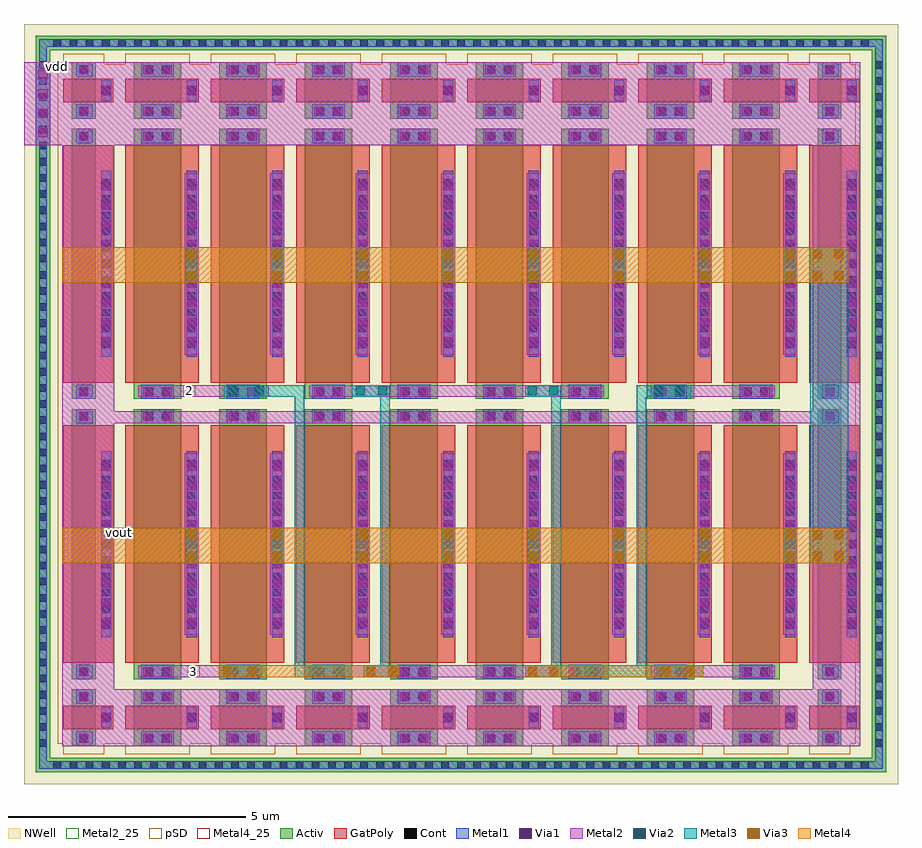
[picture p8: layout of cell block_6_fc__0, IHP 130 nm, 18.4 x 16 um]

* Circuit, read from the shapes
.subckt block_6_fc__0 2 3 vdd vout
XM1 vdd vdd vdd vdd sg13_lv_pmos w=0.5u l=0.5u m=4
XM2 vdd vdd vdd vdd sg13_lv_pmos w=0.5u l=5u m=4
XM3 vdd vdd vdd vdd sg13_lv_pmos w=1u l=0.5u m=16
XM4 vdd vout 3 vdd sg13_lv_pmos w=1u l=5u m=8
XM5 vdd vout 2 vdd sg13_lv_pmos w=1u l=5u m=8
.ends

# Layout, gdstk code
from math import pi, radians
import gdstk
lib = gdstk.Library(unit=1e-6, precision=1e-09)
def R(c, l, rs):  # rectangles x0, y0, x1, y1
    for r in rs: c.add(gdstk.rectangle(r[:2], r[2:], *l))
def A(c, l, x, y, w, h, nx, ny, dx, dy):  # array of equal rectangles
    R(c, l, [(x+i*dx, y+j*dy, x+i*dx+w, y+j*dy+h) for i in range(nx) for j in range(ny)])
Activ = (1, 0)
GatPoly = (5, 0)
Cont = (6, 0)
Metal1 = (8, 0)
Metal2 = (10, 0)
Metal2_25 = (10, 25)
pSD = (14, 0)
Via1 = (19, 0)
Via2 = (29, 0)
Metal3 = (30, 0)
NWell = (31, 0)
Via3 = (49, 0)
Metal4 = (50, 0)
Metal4_25 = (50, 25)

sg13_lv_pmos_7da2r2__0 = lib.new_cell('sg13_lv_pmos_7DA2R2__0')
R(sg13_lv_pmos_7da2r2__0, Activ, [(-0.59,-0.345,0.59,0.155)])
R(sg13_lv_pmos_7da2r2__0, GatPoly, [(-0.25,-0.525,0.25,0.525)])
R(sg13_lv_pmos_7da2r2__0, Cont, [(-0.52,-0.175,-0.36,-0.015), (0.36,-0.175,0.52,-0.015), (-0.08,0.295,0.08,0.455)])
R(sg13_lv_pmos_7da2r2__0, Metal1, [(-0.59,-0.24,-0.29,0.05), (0.29,-0.24,0.59,0.05), (-0.215,0.27,0.215,0.48)])
R(sg13_lv_pmos_7da2r2__0, Metal2, [(-0.54,-0.28,-0.34,0.09), (0.34,-0.28,0.54,0.09), (-0.11,0.23,0.11,0.52)])
R(sg13_lv_pmos_7da2r2__0, pSD, [(-0.55,-0.645,0.55,-0.525), (-0.77,-0.525,0.77,0.335), (-0.55,0.335,0.55,0.455)])
R(sg13_lv_pmos_7da2r2__0, Via1, [(-0.535,-0.19,-0.345,0), (0.345,-0.19,0.535,0), (-0.095,0.28,0.095,0.47)])
R(sg13_lv_pmos_7da2r2__0, NWell, [(-0.9,-0.655,0.9,0.465)])
sg13_lv_pmos_7da2r2__0.add(gdstk.Label('D', (-0.44,-0.095), layer=8, texttype=25))
sg13_lv_pmos_7da2r2__0.add(gdstk.Label('S', (0.44,-0.095), layer=8, texttype=25))
sg13_lv_pmos_7da2r2__0.add(gdstk.Label('G', (0,0.375), layer=8, texttype=25))

sg13_lv_pmos_9rwyp4__0 = lib.new_cell('sg13_lv_pmos_9RWYP4__0')
R(sg13_lv_pmos_9rwyp4__0, Activ, [(-2.84,-0.595,2.84,0.405)])
R(sg13_lv_pmos_9rwyp4__0, GatPoly, [(-2.5,-0.775,2.5,0.775)])
A(sg13_lv_pmos_9rwyp4__0, Cont, -1.78, 0.545, 0.16, 0.16, 11, 1, 0.34, 0)
R(sg13_lv_pmos_9rwyp4__0, Cont, [(-2.77,-0.345,-2.61,-0.185), (2.61,-0.345,2.77,-0.185), (-2.77,-0.005,-2.61,0.155), (2.61,-0.005,2.77,0.155)])
R(sg13_lv_pmos_9rwyp4__0, Metal1, [(-2.84,-0.44,-2.54,0.25), (2.54,-0.44,2.84,0.25), (-1.96,0.52,1.96,0.73)])
R(sg13_lv_pmos_9rwyp4__0, Metal2, [(-2.79,-0.48,-2.59,0.29), (2.59,-0.48,2.79,0.29), (-1.91,0.48,1.91,0.77)])
R(sg13_lv_pmos_9rwyp4__0, pSD, [(-2.8,-0.895,2.8,-0.775), (-3.02,-0.775,3.02,0.585), (-2.8,0.585,2.8,0.705)])
A(sg13_lv_pmos_9rwyp4__0, Via1, -1.735, 0.53, 0.19, 0.19, 9, 1, 0.41, 0)
R(sg13_lv_pmos_9rwyp4__0, Via1, [(-2.785,-0.395,-2.595,-0.205), (2.595,-0.395,2.785,-0.205), (-2.785,0.015,-2.595,0.205), (2.595,0.015,2.785,0.205)])
R(sg13_lv_pmos_9rwyp4__0, NWell, [(-3.15,-0.905,3.15,0.715)])
sg13_lv_pmos_9rwyp4__0.add(gdstk.Label('D', (-2.69,-0.095), layer=8, texttype=25))
sg13_lv_pmos_9rwyp4__0.add(gdstk.Label('S', (2.69,-0.095), layer=8, texttype=25))
sg13_lv_pmos_9rwyp4__0.add(gdstk.Label('G', (0,0.625), layer=8, texttype=25))

sg13_lv_pmos_77wrp2__0 = lib.new_cell('sg13_lv_pmos_77WRP2__0')
R(sg13_lv_pmos_77wrp2__0, Activ, [(-0.59,-0.595,0.59,0.405)])
R(sg13_lv_pmos_77wrp2__0, GatPoly, [(-0.25,-0.775,0.25,0.775)])
R(sg13_lv_pmos_77wrp2__0, Cont, [(-0.52,-0.345,-0.36,-0.185), (0.36,-0.345,0.52,-0.185), (-0.52,-0.005,-0.36,0.155), (0.36,-0.005,0.52,0.155), (-0.08,0.545,0.08,0.705)])
R(sg13_lv_pmos_77wrp2__0, Metal1, [(-0.59,-0.44,-0.29,0.25), (0.29,-0.44,0.59,0.25), (-0.215,0.52,0.215,0.73)])
R(sg13_lv_pmos_77wrp2__0, Metal2, [(-0.54,-0.48,-0.34,0.29), (0.34,-0.48,0.54,0.29), (-0.11,0.48,0.11,0.77)])
R(sg13_lv_pmos_77wrp2__0, pSD, [(-0.55,-0.895,0.55,-0.775), (-0.77,-0.775,0.77,0.585), (-0.55,0.585,0.55,0.705)])
R(sg13_lv_pmos_77wrp2__0, Via1, [(-0.535,-0.395,-0.345,-0.205), (0.345,-0.395,0.535,-0.205), (-0.535,0.015,-0.345,0.205), (0.345,0.015,0.535,0.205), (-0.095,0.53,0.095,0.72)])
R(sg13_lv_pmos_77wrp2__0, NWell, [(-0.9,-0.905,0.9,0.715)])
sg13_lv_pmos_77wrp2__0.add(gdstk.Label('D', (-0.44,-0.095), layer=8, texttype=25))
sg13_lv_pmos_77wrp2__0.add(gdstk.Label('S', (0.44,-0.095), layer=8, texttype=25))
sg13_lv_pmos_77wrp2__0.add(gdstk.Label('G', (0,0.625), layer=8, texttype=25))

sg13_lv_pmos_gk6upc__0 = lib.new_cell('sg13_lv_pmos_GK6UPC__0')
R(sg13_lv_pmos_gk6upc__0, Activ, [(-2.84,-0.345,2.84,0.155)])
R(sg13_lv_pmos_gk6upc__0, GatPoly, [(-2.5,-0.525,2.5,0.525)])
A(sg13_lv_pmos_gk6upc__0, Cont, -1.78, 0.295, 0.16, 0.16, 11, 1, 0.34, 0)
R(sg13_lv_pmos_gk6upc__0, Cont, [(-2.77,-0.175,-2.61,-0.015), (2.61,-0.175,2.77,-0.015)])
R(sg13_lv_pmos_gk6upc__0, Metal1, [(-2.84,-0.24,-2.54,0.05), (2.54,-0.24,2.84,0.05), (-1.96,0.27,1.96,0.48)])
R(sg13_lv_pmos_gk6upc__0, Metal2, [(-2.79,-0.28,-2.59,0.09), (2.59,-0.28,2.79,0.09), (-1.91,0.23,1.91,0.52)])
R(sg13_lv_pmos_gk6upc__0, pSD, [(-2.8,-0.645,2.8,-0.525), (-3.02,-0.525,3.02,0.335), (-2.8,0.335,2.8,0.455)])
A(sg13_lv_pmos_gk6upc__0, Via1, -1.735, 0.28, 0.19, 0.19, 9, 1, 0.41, 0)
R(sg13_lv_pmos_gk6upc__0, Via1, [(-2.785,-0.19,-2.595,0), (2.595,-0.19,2.785,0)])
R(sg13_lv_pmos_gk6upc__0, NWell, [(-3.15,-0.655,3.15,0.465)])
sg13_lv_pmos_gk6upc__0.add(gdstk.Label('D', (-2.69,-0.095), layer=8, texttype=25))
sg13_lv_pmos_gk6upc__0.add(gdstk.Label('S', (2.69,-0.095), layer=8, texttype=25))
sg13_lv_pmos_gk6upc__0.add(gdstk.Label('G', (0,0.375), layer=8, texttype=25))

block_6_fc__0 = lib.new_cell('block_6_fc__0')
R(block_6_fc__0, Activ, [(-1.1,-1.35,16.8,-1.05), (-1.1,-1.05,-0.8,13.85), (16.5,-1.05,16.8,13.85), (-1.1,13.85,16.8,14.15)])
A(block_6_fc__0, Cont, -0.73, -1.28, 0.16, 0.16, 51, 2, 0.34, 15.2)
A(block_6_fc__0, Cont, -1.03, -0.82, 0.16, 0.16, 1, 43, 0, 0.34)
A(block_6_fc__0, Cont, 16.57, -0.82, 0.16, 0.16, 1, 43, 0, 0.34)
R(block_6_fc__0, Metal1, [(-1.03,-1.28,16.73,-1.12), (-1.03,-1.12,-0.87,11.85), (16.57,-1.12,16.73,13.92), (-0.25,-0.75,0.1,-0.5), (15.45,-0.75,15.8,-0.5), (-0.25,0.1,0.1,0.35), (15.45,0.1,15.8,0.35), (-0.25,0.65,0.1,0.9), (15.45,0.65,15.8,0.9), (-0.25,6,0.1,6.25), (15.45,6,15.8,6.25), (-0.25,6.55,0.1,6.8), (15.45,6.55,15.8,6.8), (-1.1,11.85,-0.8,13.6), (-0.25,11.9,0.1,12.15), (15.45,11.9,15.8,12.15), (-0.25,12.45,0.1,12.7), (15.45,12.45,15.8,12.7), (-0.25,13.3,0.1,13.55), (15.45,13.3,15.8,13.55), (-1.03,13.6,-0.87,13.92), (-1.03,13.92,16.73,14.08)])
A(block_6_fc__0, Metal2, 2.05, 3.05, 0.25, 0.75, 8, 2, 1.8, 5.9)
R(block_6_fc__0, Metal2, [(-0.55,-0.8,16.25,0.4), (-0.55,0.4,0.55,6), (15.25,0.4,16.25,6), (1.05,0.65,3.65,0.9), (4.55,0.65,10.85,0.9), (11.85,0.65,14.45,0.9), (-0.55,6,16.25,6.25), (-0.55,6.25,0.55,11.85), (15.25,6.25,16.25,11.85), (1.05,6.55,3.8,6.8), (4.65,6.55,10.85,6.8), (11.85,6.55,14.45,6.8), (-1.35,11.85,16.25,13.6)])
R(block_6_fc__0, Metal2_25, [(2.1,0.65,2.35,0.9), (2,6.55,2.25,6.8), (-0.75,13.4,-0.55,13.6)])
A(block_6_fc__0, pSD, 0.46, -0.75, 0.2, 1.1, 9, 2, 1.8, 13.2)
A(block_6_fc__0, pSD, -0.64, 0.35, 0.12, 0.3, 1, 3, 0, 5.9)
A(block_6_fc__0, pSD, 0.34, 0.35, 0.44, 0.3, 9, 3, 1.8, 5.9)
A(block_6_fc__0, pSD, 16.04, 0.35, 0.12, 0.3, 1, 3, 0, 5.9)
A(block_6_fc__0, pSD, 0.46, 0.65, 0.2, 5.6, 9, 2, 1.8, 5.9)
A(block_6_fc__0, Via1, -1.045, 12.015, 0.19, 0.19, 1, 4, 0, 0.41)
A(block_6_fc__0, Via2, 2.08, 3.105, 0.19, 0.19, 8, 2, 1.8, 0.45)
A(block_6_fc__0, Via2, 2.08, 9.005, 0.19, 0.19, 8, 2, 1.8, 0.45)
R(block_6_fc__0, Via2, [(2.83,0.68,3.02,0.87), (3.38,0.68,3.57,0.87), (4.655,0.68,4.845,0.87), (5.205,0.68,5.395,0.87), (10.455,0.68,10.645,0.87), (12.08,0.68,12.27,0.87), (12.58,0.68,12.77,0.87), (2.955,6.58,3.145,6.77), (3.505,6.58,3.695,6.77), (5.63,6.58,5.82,6.77), (6.105,6.58,6.295,6.77), (9.255,6.58,9.445,6.77), (9.705,6.58,9.895,6.77), (11.905,6.58,12.095,6.77), (12.355,6.58,12.545,6.77)])
A(block_6_fc__0, Metal3, 2.05, 3.05, 0.25, 0.75, 8, 2, 1.8, 5.9)
R(block_6_fc__0, Metal3, [(2.75,0.65,3.65,0.9), (4.35,0.65,5.55,0.9), (5.8,0.65,6.55,0.9), (9.2,0.65,9.95,0.9), (10.25,0.65,11.75,0.9), (12,0.65,12.95,0.9), (4.35,0.9,4.55,6.55), (6.15,0.9,6.35,6.55), (9.75,0.9,9.95,6.55), (11.55,0.9,11.75,6.55), (15.2,3.05,16,9.7), (2.85,6.55,4.55,6.8), (5.55,6.55,6.35,6.8), (9.2,6.55,9.95,6.8), (11.55,6.55,12.7,6.8)])
R(block_6_fc__0, NWell, [(-1.35,-1.6,17.05,14.4)])
A(block_6_fc__0, Via3, 2.08, 3.105, 0.19, 0.19, 8, 2, 1.8, 0.45)
A(block_6_fc__0, Via3, 2.08, 9.005, 0.19, 0.19, 8, 2, 1.8, 0.45)
R(block_6_fc__0, Via3, [(2.83,0.68,3.02,0.87), (3.38,0.68,3.57,0.87), (5.855,0.68,6.045,0.87), (6.305,0.68,6.495,0.87), (9.255,0.68,9.445,0.87), (9.705,0.68,9.895,0.87), (12.08,0.68,12.27,0.87), (12.58,0.68,12.77,0.87), (15.255,3.105,15.445,3.295), (15.705,3.105,15.895,3.295), (15.255,3.555,15.445,3.745), (15.705,3.555,15.895,3.745), (15.255,9.005,15.445,9.195), (15.705,9.005,15.895,9.195), (15.255,9.455,15.445,9.645), (15.705,9.455,15.895,9.645)])
R(block_6_fc__0, Metal4, [(2.75,0.65,6.55,0.9), (9.2,0.65,12.95,0.9), (-0.55,3.05,16,3.8), (-0.55,8.95,16,9.7)])
R(block_6_fc__0, Metal4_25, [(0.55,3.6,0.75,3.8)])
block_6_fc__0.add(gdstk.Reference(sg13_lv_pmos_7da2r2__0, (0.005,-0.2), rotation=3*pi/2))
block_6_fc__0.add(gdstk.Reference(sg13_lv_pmos_9rwyp4__0, (1.555,3.45), rotation=3*pi/2))
block_6_fc__0.add(gdstk.Reference(sg13_lv_pmos_77wrp2__0, (1.555,-0.2), rotation=3*pi/2))
block_6_fc__0.add(gdstk.Reference(sg13_lv_pmos_gk6upc__0, (0.005,3.45), rotation=3*pi/2))
block_6_fc__0.add(gdstk.Reference(sg13_lv_pmos_9rwyp4__0, (3.355,3.45), rotation=3*pi/2))
block_6_fc__0.add(gdstk.Reference(sg13_lv_pmos_77wrp2__0, (3.355,-0.2), rotation=3*pi/2))
block_6_fc__0.add(gdstk.Reference(sg13_lv_pmos_9rwyp4__0, (5.155,3.45), rotation=3*pi/2))
block_6_fc__0.add(gdstk.Reference(sg13_lv_pmos_77wrp2__0, (5.155,-0.2), rotation=3*pi/2))
block_6_fc__0.add(gdstk.Reference(sg13_lv_pmos_9rwyp4__0, (6.955,3.45), rotation=3*pi/2))
block_6_fc__0.add(gdstk.Reference(sg13_lv_pmos_77wrp2__0, (6.955,-0.2), rotation=3*pi/2))
block_6_fc__0.add(gdstk.Reference(sg13_lv_pmos_9rwyp4__0, (8.755,3.45), rotation=3*pi/2))
block_6_fc__0.add(gdstk.Reference(sg13_lv_pmos_77wrp2__0, (8.755,-0.2), rotation=3*pi/2))
block_6_fc__0.add(gdstk.Reference(sg13_lv_pmos_9rwyp4__0, (10.555,3.45), rotation=3*pi/2))
block_6_fc__0.add(gdstk.Reference(sg13_lv_pmos_77wrp2__0, (10.555,-0.2), rotation=3*pi/2))
block_6_fc__0.add(gdstk.Reference(sg13_lv_pmos_9rwyp4__0, (12.355,3.45), rotation=3*pi/2))
block_6_fc__0.add(gdstk.Reference(sg13_lv_pmos_77wrp2__0, (12.355,-0.2), rotation=3*pi/2))
block_6_fc__0.add(gdstk.Reference(sg13_lv_pmos_9rwyp4__0, (14.155,3.45), rotation=3*pi/2))
block_6_fc__0.add(gdstk.Reference(sg13_lv_pmos_77wrp2__0, (14.155,-0.2), rotation=3*pi/2))
block_6_fc__0.add(gdstk.Reference(sg13_lv_pmos_7da2r2__0, (15.705,-0.2), rotation=3*pi/2))
block_6_fc__0.add(gdstk.Reference(sg13_lv_pmos_gk6upc__0, (15.705,3.45), rotation=3*pi/2))
block_6_fc__0.add(gdstk.Reference(sg13_lv_pmos_9rwyp4__0, (1.555,9.35), rotation=3*pi/2))
block_6_fc__0.add(gdstk.Reference(sg13_lv_pmos_gk6upc__0, (0.005,9.35), rotation=3*pi/2))
block_6_fc__0.add(gdstk.Reference(sg13_lv_pmos_9rwyp4__0, (3.355,9.35), rotation=3*pi/2))
block_6_fc__0.add(gdstk.Reference(sg13_lv_pmos_9rwyp4__0, (5.155,9.35), rotation=3*pi/2))
block_6_fc__0.add(gdstk.Reference(sg13_lv_pmos_9rwyp4__0, (6.955,9.35), rotation=3*pi/2))
block_6_fc__0.add(gdstk.Reference(sg13_lv_pmos_9rwyp4__0, (8.755,9.35), rotation=3*pi/2))
block_6_fc__0.add(gdstk.Reference(sg13_lv_pmos_9rwyp4__0, (10.555,9.35), rotation=3*pi/2))
block_6_fc__0.add(gdstk.Reference(sg13_lv_pmos_9rwyp4__0, (12.355,9.35), rotation=3*pi/2))
block_6_fc__0.add(gdstk.Reference(sg13_lv_pmos_9rwyp4__0, (14.155,9.35), rotation=3*pi/2))
block_6_fc__0.add(gdstk.Reference(sg13_lv_pmos_gk6upc__0, (15.705,9.35), rotation=3*pi/2))
block_6_fc__0.add(gdstk.Reference(sg13_lv_pmos_7da2r2__0, (0.005,13), rotation=3*pi/2))
block_6_fc__0.add(gdstk.Reference(sg13_lv_pmos_77wrp2__0, (1.555,13), rotation=3*pi/2))
block_6_fc__0.add(gdstk.Reference(sg13_lv_pmos_77wrp2__0, (3.355,13), rotation=3*pi/2))
block_6_fc__0.add(gdstk.Reference(sg13_lv_pmos_77wrp2__0, (5.155,13), rotation=3*pi/2))
block_6_fc__0.add(gdstk.Reference(sg13_lv_pmos_77wrp2__0, (6.955,13), rotation=3*pi/2))
block_6_fc__0.add(gdstk.Reference(sg13_lv_pmos_77wrp2__0, (8.755,13), rotation=3*pi/2))
block_6_fc__0.add(gdstk.Reference(sg13_lv_pmos_77wrp2__0, (10.555,13), rotation=3*pi/2))
block_6_fc__0.add(gdstk.Reference(sg13_lv_pmos_77wrp2__0, (12.355,13), rotation=3*pi/2))
block_6_fc__0.add(gdstk.Reference(sg13_lv_pmos_77wrp2__0, (14.155,13), rotation=3*pi/2))
block_6_fc__0.add(gdstk.Reference(sg13_lv_pmos_7da2r2__0, (15.705,13), rotation=3*pi/2))
block_6_fc__0.add(gdstk.Label('2', (2.125,6.675), layer=10, texttype=25))
block_6_fc__0.add(gdstk.Label('3', (2.225,0.775), layer=10, texttype=25))
block_6_fc__0.add(gdstk.Label('vout', (0.65,3.7), layer=50, texttype=25))
block_6_fc__0.add(gdstk.Label('vdd', (-0.65,13.5), layer=10, texttype=25))

lib.write_gds('block_6_fc__0.gds')
